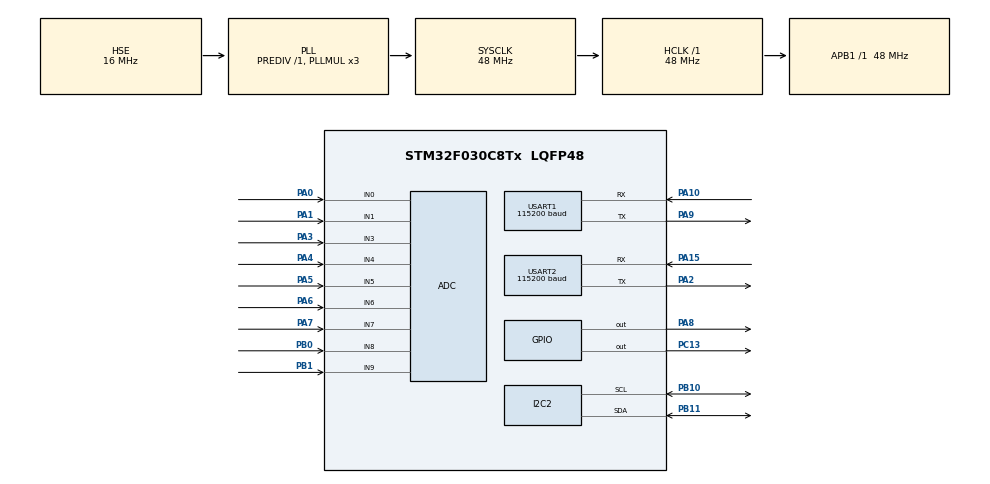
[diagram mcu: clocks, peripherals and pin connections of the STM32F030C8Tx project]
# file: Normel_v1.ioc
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ADC.ClockPrescaler=ADC_CLOCK_ASYNC_DIV1
ADC.ContinuousConvMode=DISABLE
ADC.DMAContinuousRequests=DISABLE
ADC.DiscontinuousConvMode=DISABLE
ADC.EOCSelection=ADC_EOC_SINGLE_CONV
ADC.Overrun=ADC_OVR_DATA_PRESERVED
ADC.SamplingTime=ADC_SAMPLETIME_28CYCLES_5
ADC.ScanConvMode=ADC_SCAN_DIRECTION_FORWARD
Dma.ADC.0.Direction=DMA_PERIPH_TO_MEMORY
Dma.ADC.0.Instance=DMA1_Channel1
Dma.ADC.0.MemDataAlignment=DMA_MDATAALIGN_HALFWORD
Dma.ADC.0.MemInc=DMA_MINC_ENABLE
Dma.ADC.0.Mode=DMA_NORMAL
Dma.ADC.0.PeriphDataAlignment=DMA_PDATAALIGN_HALFWORD
Dma.ADC.0.PeriphInc=DMA_PINC_DISABLE
Dma.ADC.0.Priority=DMA_PRIORITY_LOW
Dma.Request0=ADC
I2C2.Speed=50
I2C2.Timing=0x20303EFD
Mcu.Family=STM32F0
Mcu.Name=STM32F030C8Tx
Mcu.Package=LQFP48
NVIC.DMA1_Channel1_IRQn=true\:0\:0\:false\:false\:true\:false\:true\:true
NVIC.TIM6_IRQn=true\:0\:0\:false\:false\:true\:true\:true\:true
NVIC.USART1_IRQn=true\:0\:0\:false\:false\:true\:true\:true\:true
PA0.Mode=IN0
PA0.Signal=ADC_IN0
PA1.Mode=IN1
PA1.Signal=ADC_IN1
PA10.Mode=Asynchronous
PA10.Signal=USART1_RX
PA13.Mode=Serial_Wire
PA13.Signal=SYS_SWDIO
PA14.Mode=Serial_Wire
PA14.Signal=SYS_SWCLK
PA15.Mode=Asynchronous
PA15.Signal=USART2_RX
PA2.Mode=Asynchronous
PA2.Signal=USART2_TX
PA3.Mode=IN3
PA3.Signal=ADC_IN3
PA4.Mode=IN4
PA4.Signal=ADC_IN4
PA5.Mode=IN5
PA5.Signal=ADC_IN5
PA6.Mode=IN6
PA6.Signal=ADC_IN6
PA7.Mode=IN7
PA7.Signal=ADC_IN7
PA8.GPIO_ModeDefaultOutputPP=GPIO_MODE_OUTPUT_OD
PA8.GPIO_PuPd=GPIO_NOPULL
PA8.PinState=GPIO_PIN_SET
PA8.Signal=GPIO_Output
PA9.Mode=Asynchronous
PA9.Signal=USART1_TX
PB0.Mode=IN8
PB0.Signal=ADC_IN8
PB1.Mode=IN9
PB1.Signal=ADC_IN9
PB10.Mode=I2C
PB10.Signal=I2C2_SCL
PB11.Mode=I2C
PB11.Signal=I2C2_SDA
PC13.Signal=GPIO_Output
PF0-OSC_IN.Mode=HSE-External-Oscillator
PF0-OSC_IN.Signal=RCC_OSC_IN
PF1-OSC_OUT.Mode=HSE-External-Oscillator
PF1-OSC_OUT.Signal=RCC_OSC_OUT
ProjectManager.HeapSize=0x200
ProjectManager.StackSize=0x400
ProjectManager.TargetToolchain=MDK-ARM V5.32
RCC.AHBFreq_Value=48000000
RCC.APB1Freq_Value=48000000
RCC.APB1TimFreq_Value=48000000
RCC.HCLKFreq_Value=48000000
RCC.HSE_VALUE=16000000
RCC.HSI14CalibrationValue=16
RCC.PLLMUL=RCC_PLL_MUL3
RCC.PLLSourceVirtual=RCC_PLLSOURCE_HSE
RCC.SYSCLKFreq_VALUE=48000000
RCC.SYSCLKSource=RCC_SYSCLKSOURCE_PLLCLK
TIM6.Period=99
TIM6.Prescaler=47
USART1.BaudRate=115200
USART1.VirtualMode-Asynchronous=VM_ASYNC
USART2.BaudRate=115200
USART2.VirtualMode-Asynchronous=VM_ASYNC
VP_TIM6_VS_ClockSourceINT.Mode=Enable_Timer
board=custom

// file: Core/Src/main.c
/* USER CODE BEGIN Header */
/**
  ******************************************************************************
  * @file           : main.c
  * @brief          : Main program body
  ******************************************************************************
  * @attention
  *
  * Copyright (c) 2022 STMicroelectronics.
  * All rights reserved.
  *
  * This software is licensed under terms that can be found in the LICENSE file
  * in the root directory of this software component.
  * If no LICENSE file comes with this software, it is provided AS-IS.
  *
  ******************************************************************************
  */
/* USER CODE END Header */
#include "main.h"

/* USER CODE BEGIN Includes */
#include <stdio.h>
#include <math.h>
#include "Lcd_1602.h"
#include "sim800.h"

/* USER CODE END Includes */

 ADC_HandleTypeDef hadc;
DMA_HandleTypeDef hdma_adc;

I2C_HandleTypeDef hi2c2;

TIM_HandleTypeDef htim6;

UART_HandleTypeDef huart1;
UART_HandleTypeDef huart2;

/* USER CODE BEGIN PV */
volatile uint32_t time = 0;
volatile uint32_t time_init_uart = 0;
volatile uint32_t time_send_sim800 = 0;
volatile uint32_t time_adc_u = 0;

volatile uint8_t flag_adc_ready = 0;
volatile uint8_t flag_data_ready = 0;
volatile uint16_t adc[10] = {0,};
volatile uint16_t data_adc[10] = {0,};

int32_t value = 0;
int16_t mid_value_u1 = 2010;
int16_t mid_value_u2 = 2030;
int16_t mid_value_u3 = 2088;
int16_t mid_value_u4 = 1999;
int16_t mid_value_u5 = 2000;
int16_t mid_value_u6 = 2082;
int16_t mid_value_i1 = 2056;
int16_t mid_value_i2 = 2056;
int16_t mid_value_i3 = 2056;
//
int32_t amount_u1 = 0;
int32_t amount_u2 = 0;
int32_t amount_u3 = 0;
int32_t amount_u4 = 0;
int32_t amount_u5 = 0;
int32_t amount_u6 = 0;
int32_t amount_i1 = 0;
int32_t amount_i2 = 0;
int32_t amount_i3 = 0;
//
int32_t amount_u1_temp = 0;
int32_t amount_u2_temp = 0;
int32_t amount_u3_temp = 0;
int32_t amount_u4_temp = 0;
int32_t amount_u5_temp = 0;
int32_t amount_u6_temp = 0;
int32_t amount_i1_temp = 0;
int32_t amount_i2_temp = 0;
int32_t amount_i3_temp = 0;
//
uint16_t counter_sample = 0;
uint16_t counter_sample_temp = 0;

float u1 = 0;
float u2 = 0;
float u3 = 0;
float u4 = 0;
float u5 = 0;
float u6 = 0;
float i1 = 0;
float i2 = 0;
float i3 = 0;
//
float u1_average = 0;
float u2_average = 0;
float u3_average = 0;
float u4_average = 0;
float u5_average = 0;
float u6_average = 0;
float i1_average = 0;
float i2_average = 0;
float i3_average = 0;
uint16_t counter_average = 0;
//
float u1_average_gsm = 0;
float u2_average_gsm = 0;
float u3_average_gsm = 0;
float u4_average_gsm = 0;
float u5_average_gsm = 0;
float u6_average_gsm = 0;
float i1_average_gsm = 0;
float i2_average_gsm = 0;
float i3_average_gsm = 0;
uint16_t counter_average_gsm = 0;

//UART
uint8_t uart_count = 0;
uint8_t data_uart_receive = 0;
uint8_t data_mas_uart[100] = {0,};
uint8_t flag_uart_init = 0;

/* USER CODE END PV */

void SystemClock_Config(void);
static void MX_GPIO_Init(void);
static void MX_I2C2_Init(void);
static void MX_DMA_Init(void);
static void MX_USART1_UART_Init(void);
static void MX_ADC_Init(void);
static void MX_USART2_UART_Init(void);
static void MX_TIM6_Init(void);

/* USER CODE BEGIN 0 */
void HAL_ADC_ConvCpltCallback(ADC_HandleTypeDef* hadc){

	if(hadc->Instance == ADC1){
		flag_adc_ready = 1;
	}
}

//Timer 6
void HAL_TIM_PeriodElapsedCallback(TIM_HandleTypeDef *htim){
        if(htim->Instance == TIM6){ //check if the interrupt comes from TIM6

						//copy adc to adc temp bufer, adc set zero;
						for( uint8_t i = 0; i<10; i++){
							data_adc[i] = adc[i];
							adc[i] = 0;
						}

						HAL_ADC_Start_DMA(&hadc, (uint32_t*)adc, 9);

						flag_adc_ready = 0;
						flag_data_ready = 1;
        }
}

//UART1
void HAL_UART_RxCpltCallback(UART_HandleTypeDef *huart){

		data_mas_uart[uart_count] = data_uart_receive;
		uart_count++;
		if( uart_count > 99 ) uart_count = 0;

		HAL_UART_Receive_IT( huart, (uint8_t*) &data_uart_receive, 1);

}

/* USER CODE END 0 */

int main(void)
{

  /* MCU Configuration--------------------------------------------------------*/

  /* Reset of all peripherals, Initializes the Flash interface and the Systick. */
  HAL_Init();

  /* Configure the system clock */
  SystemClock_Config();

  /* Initialize all configured peripherals */
  MX_GPIO_Init();
  MX_DMA_Init();
  MX_USART1_UART_Init();
  MX_USART2_UART_Init();
  MX_TIM6_Init();
  MX_ADC_Init();
  MX_I2C2_Init();
  /* USER CODE BEGIN 2 */

//  MX_GPIO_Init();
//  MX_DMA_Init();
//  MX_USART1_UART_Init();
//  MX_USART2_UART_Init();
//  MX_TIM6_Init();
//  MX_ADC_Init();
//  MX_I2C2_Init();

	//------------------------------------------
	HAL_ADCEx_Calibration_Start(&hadc);
	//HAL_ADC_Start_DMA(&hadc, (uint32_t*)adc, 9);
	//HAL_ADC_Start_IT(&hadc);

	__HAL_TIM_CLEAR_FLAG(&htim6, TIM_SR_UIF); // очищаем флаг
	HAL_TIM_Base_Start_IT(&htim6);

	HAL_UART_Receive_IT( &huart1, (uint8_t*) &data_uart_receive, 1);

	HAL_Delay(100);

  Init_lcd_1602(&hi2c2);
  lcd_led_on();
  char mas_char[25];
  int count=0;

	//------------------------------------------
  /* USER CODE END 2 */

  /* Infinite loop */
  /* USER CODE BEGIN WHILE */

  while (1)
  {

		if( flag_data_ready ){

				value = data_adc[0];
				value -= mid_value_u1;
				amount_u1 += value*value;

				value = data_adc[1];
				value -= mid_value_u2;
				amount_u2 += value*value;

				value = data_adc[2];
				value -= mid_value_u3;
				amount_u3 += value*value;

				value = data_adc[3];
				value -= mid_value_u4;
				amount_u4 += value*value;

				value = data_adc[4];
				value -= mid_value_u5;
				amount_u5 += value*value;

				value = data_adc[5];
				value -= mid_value_u6;
				amount_u6 += value*value;

				value = data_adc[6];
				value -= mid_value_i1;
				amount_i1 += value*value;

				value = data_adc[7];
				value -= mid_value_i2;
				amount_i2 += value*value;

				value = data_adc[8];
				value -= mid_value_i3;
				amount_i3 += value*value;

				counter_sample++;

				//zero detector
				if( counter_sample > 199 ){

					//HAL_GPIO_WritePin(GPIOC, GPIO_PIN_13, GPIO_PIN_SET);

					amount_u1_temp = amount_u1;
					amount_u2_temp = amount_u2;
					amount_u3_temp = amount_u3;
					amount_u4_temp = amount_u4;
					amount_u5_temp = amount_u5;
					amount_u6_temp = amount_u6;
					amount_i1_temp = amount_i1;
					amount_i2_temp = amount_i2;
					amount_i3_temp = amount_i3;
					counter_sample_temp = counter_sample;

					amount_u1 = 0;
					amount_u2 = 0;
					amount_u3 = 0;
					amount_u4 = 0;
					amount_u5 = 0;
					amount_u6 = 0;
					amount_i1 = 0;
					amount_i2 = 0;
					amount_i3 = 0;
					counter_sample = 0;

					u1 = sqrt((float)amount_u1_temp/counter_sample_temp)/3.30;
					u2 = sqrt((float)amount_u2_temp/counter_sample_temp)/3.32;
					u3 = sqrt((float)amount_u3_temp/counter_sample_temp)/3.32;
					u4 = sqrt((float)amount_u4_temp/counter_sample_temp)/3.32;
					u5 = sqrt((float)amount_u5_temp/counter_sample_temp)/3.32;
					u6 = sqrt((float)amount_u6_temp/counter_sample_temp)/3.31;
					i1 = sqrt((float)amount_i1_temp/counter_sample_temp)/64.94;
					i2 = sqrt((float)amount_i2_temp/counter_sample_temp)/64.94;
					i3 = sqrt((float)amount_i3_temp/counter_sample_temp)/64.94;

					u1_average += u1;
					u2_average += u2;
					u3_average += u3;
					u4_average += u4;
					u5_average += u5;
					u6_average += u6;
					i1_average += i1;
					i2_average += i2;
					i3_average += i3;
					counter_average++;

				}

			flag_data_ready = 0;
		}

		if( ( HAL_GetTick() - time ) > 1000 ){ // intetval 1000ms = 1s

					HAL_GPIO_TogglePin(GPIOC, GPIO_PIN_13);

					u1_average /= counter_average;
					u2_average /= counter_average;
					u3_average /= counter_average;
					u4_average /= counter_average;
					u5_average /= counter_average;
					u6_average /= counter_average;
					i1_average /= counter_average;
					i2_average /= counter_average;
					i3_average /= counter_average;

					u1_average_gsm += u1_average;
					u2_average_gsm += u2_average;
					u3_average_gsm += u3_average;
					u4_average_gsm += u4_average;
					u5_average_gsm += u5_average;
					u6_average_gsm += u6_average;
					i1_average_gsm += i1_average;
					i2_average_gsm += i2_average;
					i3_average_gsm += i3_average;
					counter_average_gsm++;

					//print
					sprintf(mas_char,"%3u   %3u   %3u", (int)(u1_average + 0.5), (int)(u2_average + 0.5), (int)(u3_average + 0.5) );
					Lcd_1602_SetPos(&hi2c2, 0, 0);
					Lcd_1602_Write_Data(&hi2c2, (uint8_t *)mas_char);
					//
					//
					sprintf(mas_char,"%3u   %3u   %3u", (int)(u4_average + 0.5), (int)(u5_average + 0.5), (int)(u6_average + 0.5) );
					Lcd_1602_SetPos(&hi2c2, 0, 1);
					Lcd_1602_Write_Data(&hi2c2, (uint8_t *)mas_char);
					//
					//
					sprintf(mas_char,"%4.1f %4.1f %4.1f", i1_average, i2_average, i3_average);
					Lcd_1602_SetPos(&hi2c2, 0, 2);
					Lcd_1602_Write_Data(&hi2c2, (uint8_t *)mas_char);

					u1_average = 0;
					u2_average = 0;
					u3_average = 0;
					u4_average = 0;
					u5_average = 0;
					u6_average = 0;
					i1_average = 0;
					i2_average = 0;
					i3_average = 0;
					counter_average = 0;

					time = HAL_GetTick();
		}

		if( ( HAL_GetTick() - time_init_uart ) > 40000 ){ // intetval 1000ms = 1s

				if( flag_uart_init == 0 ){

						init_sim800_udp(&huart1);

						flag_uart_init = 1;		//do not call init next time
				}

				time_init_uart = HAL_GetTick();
		}

		if( ( HAL_GetTick() - time_send_sim800 ) > 30000 ){ // intetval 1000ms = 1s

				if( flag_uart_init == 1 ){

						u1_average_gsm /= counter_average_gsm;
						u2_average_gsm /= counter_average_gsm;
						u3_average_gsm /= counter_average_gsm;
						u4_average_gsm /= counter_average_gsm;
						u5_average_gsm /= counter_average_gsm;
						u6_average_gsm /= counter_average_gsm;
						i1_average_gsm /= counter_average_gsm;
						i2_average_gsm /= counter_average_gsm;
						i3_average_gsm /= counter_average_gsm;

						sim800_send_udp_data( &huart1, (int)(u1_average_gsm + 0.5), (int)(u2_average_gsm + 0.5), (int)(u3_average_gsm + 0.5), (int)(u4_average_gsm + 0.5), (int)(u5_average_gsm + 0.5), (int)(u6_average_gsm + 0.5), i1_average_gsm, i2_average_gsm, i3_average_gsm);

						u1_average_gsm = 0;
						u2_average_gsm = 0;
						u3_average_gsm = 0;
						u4_average_gsm = 0;
						u5_average_gsm = 0;
						u6_average_gsm = 0;
						i1_average_gsm = 0;
						i2_average_gsm = 0;
						i3_average_gsm = 0;
						counter_average_gsm = 0;
				}

				time_send_sim800 = HAL_GetTick();
		}

    /* USER CODE END WHILE */

  }
}

void SystemClock_Config(void)
{
  RCC_OscInitTypeDef RCC_OscInitStruct = {0};
  RCC_ClkInitTypeDef RCC_ClkInitStruct = {0};
  RCC_PeriphCLKInitTypeDef PeriphClkInit = {0};

  /** Initializes the RCC Oscillators according to the specified parameters
  * in the RCC_OscInitTypeDef structure.
  */
  RCC_OscInitStruct.OscillatorType = RCC_OSCILLATORTYPE_HSI14|RCC_OSCILLATORTYPE_HSE;
  RCC_OscInitStruct.HSEState = RCC_HSE_ON;
  RCC_OscInitStruct.HSI14State = RCC_HSI14_ON;
  RCC_OscInitStruct.HSI14CalibrationValue = 16;
  RCC_OscInitStruct.PLL.PLLState = RCC_PLL_ON;
  RCC_OscInitStruct.PLL.PLLSource = RCC_PLLSOURCE_HSE;
  RCC_OscInitStruct.PLL.PLLMUL = RCC_PLL_MUL3;
  RCC_OscInitStruct.PLL.PREDIV = RCC_PREDIV_DIV1;
  if (HAL_RCC_OscConfig(&RCC_OscInitStruct) != HAL_OK)
  {
    Error_Handler();
  }

  /** Initializes the CPU, AHB and APB buses clocks
  */
  RCC_ClkInitStruct.ClockType = RCC_CLOCKTYPE_HCLK|RCC_CLOCKTYPE_SYSCLK
                              |RCC_CLOCKTYPE_PCLK1;
  RCC_ClkInitStruct.SYSCLKSource = RCC_SYSCLKSOURCE_PLLCLK;
  RCC_ClkInitStruct.AHBCLKDivider = RCC_SYSCLK_DIV1;
  RCC_ClkInitStruct.APB1CLKDivider = RCC_HCLK_DIV1;

  if (HAL_RCC_ClockConfig(&RCC_ClkInitStruct, FLASH_LATENCY_1) != HAL_OK)
  {
    Error_Handler();
  }
  PeriphClkInit.PeriphClockSelection = RCC_PERIPHCLK_USART1;
  PeriphClkInit.Usart1ClockSelection = RCC_USART1CLKSOURCE_PCLK1;
  if (HAL_RCCEx_PeriphCLKConfig(&PeriphClkInit) != HAL_OK)
  {
    Error_Handler();
  }
}

static void MX_ADC_Init(void)
{

  ADC_ChannelConfTypeDef sConfig = {0};

  /** Configure the global features of the ADC (Clock, Resolution, Data Alignment and number of conversion)
  */
  hadc.Instance = ADC1;
  hadc.Init.ClockPrescaler = ADC_CLOCK_ASYNC_DIV1;
  hadc.Init.Resolution = ADC_RESOLUTION_12B;
  hadc.Init.DataAlign = ADC_DATAALIGN_RIGHT;
  hadc.Init.ScanConvMode = ADC_SCAN_DIRECTION_FORWARD;
  hadc.Init.EOCSelection = ADC_EOC_SINGLE_CONV;
  hadc.Init.LowPowerAutoWait = DISABLE;
  hadc.Init.LowPowerAutoPowerOff = DISABLE;
  hadc.Init.ContinuousConvMode = DISABLE;
  hadc.Init.DiscontinuousConvMode = DISABLE;
  hadc.Init.ExternalTrigConv = ADC_SOFTWARE_START;
  hadc.Init.ExternalTrigConvEdge = ADC_EXTERNALTRIGCONVEDGE_NONE;
  hadc.Init.DMAContinuousRequests = DISABLE;
  hadc.Init.Overrun = ADC_OVR_DATA_PRESERVED;
  if (HAL_ADC_Init(&hadc) != HAL_OK)
  {
    Error_Handler();
  }

  /** Configure for the selected ADC regular channel to be converted.
  */
  sConfig.Channel = ADC_CHANNEL_0;
  sConfig.Rank = ADC_RANK_CHANNEL_NUMBER;
  sConfig.SamplingTime = ADC_SAMPLETIME_28CYCLES_5;
  if (HAL_ADC_ConfigChannel(&hadc, &sConfig) != HAL_OK)
  {
    Error_Handler();
  }

  /** Configure for the selected ADC regular channel to be converted.
  */
  sConfig.Channel = ADC_CHANNEL_1;
  if (HAL_ADC_ConfigChannel(&hadc, &sConfig) != HAL_OK)
  {
    Error_Handler();
  }

  /** Configure for the selected ADC regular channel to be converted.
  */
  sConfig.Channel = ADC_CHANNEL_3;
  if (HAL_ADC_ConfigChannel(&hadc, &sConfig) != HAL_OK)
  {
    Error_Handler();
  }

  /** Configure for the selected ADC regular channel to be converted.
  */
  sConfig.Channel = ADC_CHANNEL_4;
  if (HAL_ADC_ConfigChannel(&hadc, &sConfig) != HAL_OK)
  {
    Error_Handler();
  }

  /** Configure for the selected ADC regular channel to be converted.
  */
  sConfig.Channel = ADC_CHANNEL_5;
  if (HAL_ADC_ConfigChannel(&hadc, &sConfig) != HAL_OK)
  {
    Error_Handler();
  }

  /** Configure for the selected ADC regular channel to be converted.
  */
  sConfig.Channel = ADC_CHANNEL_6;
  if (HAL_ADC_ConfigChannel(&hadc, &sConfig) != HAL_OK)
  {
    Error_Handler();
  }

  /** Configure for the selected ADC regular channel to be converted.
  */
  sConfig.Channel = ADC_CHANNEL_7;
  if (HAL_ADC_ConfigChannel(&hadc, &sConfig) != HAL_OK)
  {
    Error_Handler();
  }

  /** Configure for the selected ADC regular channel to be converted.
  */
  sConfig.Channel = ADC_CHANNEL_8;
  if (HAL_ADC_ConfigChannel(&hadc, &sConfig) != HAL_OK)
  {
    Error_Handler();
  }

  /** Configure for the selected ADC regular channel to be converted.
  */
  sConfig.Channel = ADC_CHANNEL_9;
  if (HAL_ADC_ConfigChannel(&hadc, &sConfig) != HAL_OK)
  {
    Error_Handler();
  }

}

static void MX_I2C2_Init(void)
{

  hi2c2.Instance = I2C2;
  hi2c2.Init.Timing = 0x20303EFD;
  hi2c2.Init.OwnAddress1 = 0;
  hi2c2.Init.AddressingMode = I2C_ADDRESSINGMODE_7BIT;
  hi2c2.Init.DualAddressMode = I2C_DUALADDRESS_DISABLE;
  hi2c2.Init.OwnAddress2 = 0;
  hi2c2.Init.OwnAddress2Masks = I2C_OA2_NOMASK;
  hi2c2.Init.GeneralCallMode = I2C_GENERALCALL_DISABLE;
  hi2c2.Init.NoStretchMode = I2C_NOSTRETCH_DISABLE;
  if (HAL_I2C_Init(&hi2c2) != HAL_OK)
  {
    Error_Handler();
  }

  /** Configure Analogue filter
  */
  if (HAL_I2CEx_ConfigAnalogFilter(&hi2c2, I2C_ANALOGFILTER_ENABLE) != HAL_OK)
  {
    Error_Handler();
  }

  /** Configure Digital filter
  */
  if (HAL_I2CEx_ConfigDigitalFilter(&hi2c2, 0) != HAL_OK)
  {
    Error_Handler();
  }

}

static void MX_TIM6_Init(void)
{

  htim6.Instance = TIM6;
  htim6.Init.Prescaler = 47;
  htim6.Init.CounterMode = TIM_COUNTERMODE_UP;
  htim6.Init.Period = 99;
  htim6.Init.AutoReloadPreload = TIM_AUTORELOAD_PRELOAD_DISABLE;
  if (HAL_TIM_Base_Init(&htim6) != HAL_OK)
  {
    Error_Handler();
  }

}

static void MX_USART1_UART_Init(void)
{

  huart1.Instance = USART1;
  huart1.Init.BaudRate = 115200;
  huart1.Init.WordLength = UART_WORDLENGTH_8B;
  huart1.Init.StopBits = UART_STOPBITS_1;
  huart1.Init.Parity = UART_PARITY_NONE;
  huart1.Init.Mode = UART_MODE_TX_RX;
  huart1.Init.HwFlowCtl = UART_HWCONTROL_NONE;
  huart1.Init.OverSampling = UART_OVERSAMPLING_16;
  huart1.Init.OneBitSampling = UART_ONE_BIT_SAMPLE_DISABLE;
  huart1.AdvancedInit.AdvFeatureInit = UART_ADVFEATURE_NO_INIT;
  if (HAL_UART_Init(&huart1) != HAL_OK)
  {
    Error_Handler();
  }

}

static void MX_USART2_UART_Init(void)
{

  huart2.Instance = USART2;
  huart2.Init.BaudRate = 115200;
  huart2.Init.WordLength = UART_WORDLENGTH_8B;
  huart2.Init.StopBits = UART_STOPBITS_1;
  huart2.Init.Parity = UART_PARITY_NONE;
  huart2.Init.Mode = UART_MODE_TX_RX;
  huart2.Init.HwFlowCtl = UART_HWCONTROL_NONE;
  huart2.Init.OverSampling = UART_OVERSAMPLING_16;
  huart2.Init.OneBitSampling = UART_ONE_BIT_SAMPLE_DISABLE;
  huart2.AdvancedInit.AdvFeatureInit = UART_ADVFEATURE_NO_INIT;
  if (HAL_UART_Init(&huart2) != HAL_OK)
  {
    Error_Handler();
  }

}

static void MX_DMA_Init(void)
{

  /* DMA controller clock enable */
  __HAL_RCC_DMA1_CLK_ENABLE();

  /* DMA interrupt init */
  /* DMA1_Channel1_IRQn interrupt configuration */
  HAL_NVIC_SetPriority(DMA1_Channel1_IRQn, 0, 0);
  HAL_NVIC_EnableIRQ(DMA1_Channel1_IRQn);

}

static void MX_GPIO_Init(void)
{
  GPIO_InitTypeDef GPIO_InitStruct = {0};

  /* GPIO Ports Clock Enable */
  __HAL_RCC_GPIOC_CLK_ENABLE();
  __HAL_RCC_GPIOF_CLK_ENABLE();
  __HAL_RCC_GPIOA_CLK_ENABLE();
  __HAL_RCC_GPIOB_CLK_ENABLE();

  /*Configure GPIO pin Output Level */
  HAL_GPIO_WritePin(GPIOC, GPIO_PIN_13, GPIO_PIN_RESET);

  /*Configure GPIO pin Output Level */
  HAL_GPIO_WritePin(GPIOA, GPIO_PIN_8, GPIO_PIN_SET);

  /*Configure GPIO pin : PC13 */
  GPIO_InitStruct.Pin = GPIO_PIN_13;
  GPIO_InitStruct.Mode = GPIO_MODE_OUTPUT_PP;
  GPIO_InitStruct.Pull = GPIO_NOPULL;
  GPIO_InitStruct.Speed = GPIO_SPEED_FREQ_LOW;
  HAL_GPIO_Init(GPIOC, &GPIO_InitStruct);

  /*Configure GPIO pin : PA8 */
  GPIO_InitStruct.Pin = GPIO_PIN_8;
  GPIO_InitStruct.Mode = GPIO_MODE_OUTPUT_OD;
  GPIO_InitStruct.Pull = GPIO_NOPULL;
  GPIO_InitStruct.Speed = GPIO_SPEED_FREQ_LOW;
  HAL_GPIO_Init(GPIOA, &GPIO_InitStruct);

}

void Error_Handler(void)
{
  __disable_irq();
  while (1)
  {
  }
}
